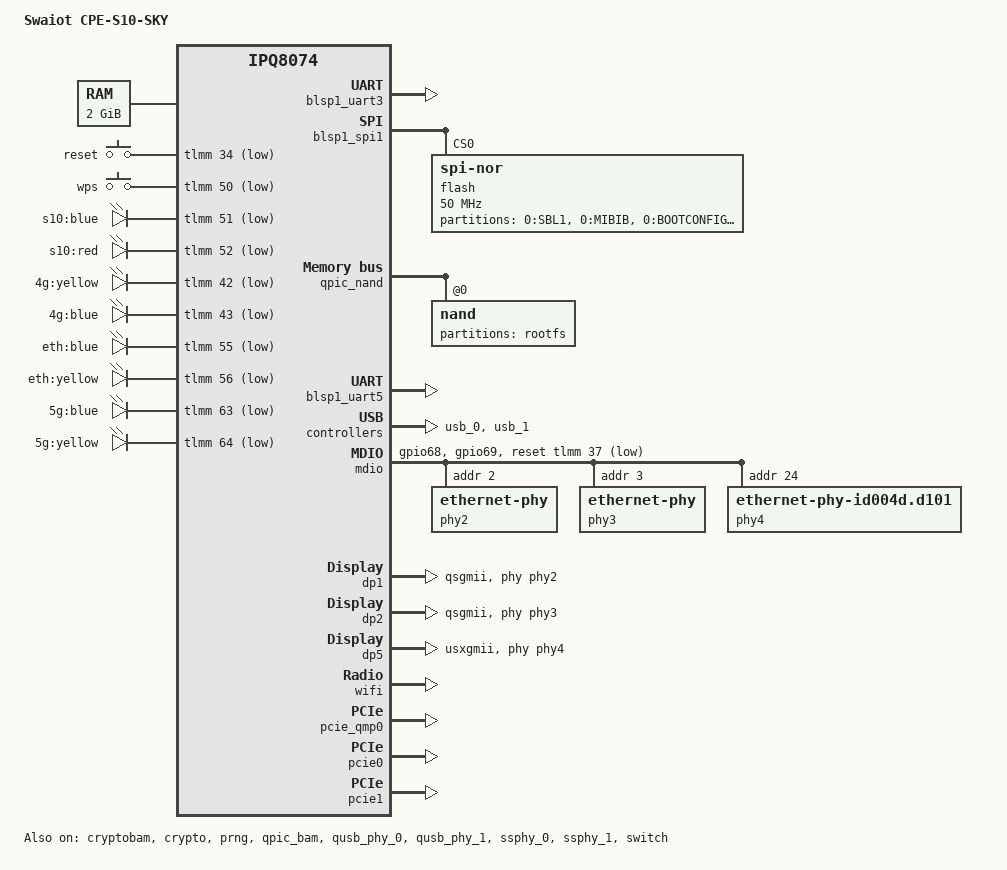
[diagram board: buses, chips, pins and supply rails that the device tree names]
// SPDX-License-Identifier: GPL-2.0-or-later OR MIT
/dts-v1/;
#include "ipq8071-edgecore.dtsi"
#include <dt-bindings/gpio/gpio.h>
#include <dt-bindings/input/input.h>
#include <dt-bindings/leds/common.h>

/ {
	model = "Swaiot CPE-S10-SKY";
	/* 兼容 HK01 U-Boot */
	compatible = "swaiot,cpe-s10-sky",
		     "qcom,ipq8074-hk01",
		     "qcom,ipq8074";

	aliases {
		serial0 = &blsp1_uart3;
		ethernet0 = &dp5;   /* WAN 2.5G */
		ethernet1 = &dp1;   /* LAN1 */
		ethernet2 = &dp2;   /* LAN2 */
	};

	chosen {
		stdout-path = "serial0:115200n8";
		bootargs-append = " swiotlb=1 coherent_pool=2M";
	};

	memory@40000000 {
		device_type = "memory";
		reg = <0x0 0x40000000 0x0 0x80000000>; /* 2GB */
	};

	/* ===== BUTTONS ===== */
	gpio-keys {
		compatible = "gpio-keys";
		pinctrl-0 = <&button_pins>;
		pinctrl-names = "default";

		reset {
			label = "reset";
			gpios = <&tlmm 34 GPIO_ACTIVE_LOW>;
			linux,code = <KEY_RESTART>;
		};

		wps {
			label = "wps";
			gpios = <&tlmm 50 GPIO_ACTIVE_LOW>;
			linux,code = <KEY_WPS_BUTTON>;
		};
	};

	/* ===== LEDS ===== */
	leds {
		compatible = "gpio-leds";
		pinctrl-0 = <&led_pins>;
		pinctrl-names = "default";

		sys_blue: blue {
			label = "s10:blue";
			gpios = <&tlmm 51 GPIO_ACTIVE_LOW>;
		};

		sys_red: red {
			label = "s10:red";
			gpios = <&tlmm 52 GPIO_ACTIVE_LOW>;
		};

		/* 4G indicators */
		led_4g_yellow {
			label = "4g:yellow";
			gpios = <&tlmm 42 GPIO_ACTIVE_LOW>;
		};

		led_4g_blue {
			label = "4g:blue";
			gpios = <&tlmm 43 GPIO_ACTIVE_LOW>;
		};

		/* Ethernet indicators */
		led_eth_blue {
			label = "eth:blue";
			gpios = <&tlmm 55 GPIO_ACTIVE_LOW>;
		};

		led_eth_yellow {
			label = "eth:yellow";
			gpios = <&tlmm 56 GPIO_ACTIVE_LOW>;
		};

		/* 5G indicators */
		led_5g_blue {
			label = "5g:blue";
			gpios = <&tlmm 63 GPIO_ACTIVE_LOW>;
		};

		led_5g_yellow {
			label = "5g:yellow";
			gpios = <&tlmm 64 GPIO_ACTIVE_LOW>;
		};
	};
};

/* ===== PINMUX ===== */
&tlmm {
	button_pins: button-pins {
		pins = "gpio34", "gpio50";
		function = "gpio";
		drive-strength = <8>;
		bias-pull-up;
	};

	led_pins: led-pins {
		pins = "gpio42", "gpio43", "gpio51", "gpio52",
		       "gpio55", "gpio56", "gpio63", "gpio64";
		function = "gpio";
		drive-strength = <8>;
		bias-pull-down;
	};

	mdio_pins: mdio-pins {
		mux_0 {
			pins = "gpio68";
			function = "mdc";
			drive-strength = <8>;
			bias-pull-up;
		};
		mux_1 {
			pins = "gpio69";
			function = "mdio";
			drive-strength = <8>;
			bias-pull-up;
		};
	};
};

/* ===== UART ===== */
&blsp1_uart3 {
	status = "okay";
};

/* ===== SPI NOR (原厂分区，ART在此) ===== */
&blsp1_spi1 {
	pinctrl-0 = <&spi_0_pins>;
	pinctrl-names = "default";
	cs-select = <0>;
	status = "okay";

	flash@0 {
		compatible = "jedec,spi-nor";
		#address-cells = <1>;
		#size-cells = <1>;
		reg = <0>;
		spi-max-frequency = <50000000>;

		partitions {
			compatible = "fixed-partitions";
			#address-cells = <1>;
			#size-cells = <1>;

			partition@0 { label = "0:SBL1"; reg = <0x00000 0x50000>; };
			partition@1 { label = "0:MIBIB"; reg = <0x50000 0x10000>; };
			partition@2 { label = "0:BOOTCONFIG"; reg = <0x60000 0x20000>; };
			partition@3 { label = "0:BOOTCONFIG1"; reg = <0x80000 0x20000>; };
			partition@4 { label = "0:QSEE"; reg = <0xa0000 0x180000>; };
			partition@5 { label = "0:QSEE_1"; reg = <0x220000 0x180000>; };
			partition@6 { label = "0:DEVCFG"; reg = <0x3a0000 0x100000>; };
			partition@7 { label = "0:DEVCFG_1"; reg = <0x3b0000 0x100000>; };
			partition@8 { label = "0:APDP"; reg = <0x3c0000 0x100000>; };
			partition@9 { label = "0:APDP_1"; reg = <0x3d0000 0x100000>; };
			partition@10 { label = "0:RPM"; reg = <0x3e0000 0x40000>; };
			partition@11 { label = "0:RPM_1"; reg = <0x420000 0x40000>; };
			partition@12 { label = "0:CDT"; reg = <0x460000 0x100000>; };
			partition@13 { label = "0:CDT_1"; reg = <0x470000 0x100000>; };
			partition@14 { label = "0:APPSBLENV"; reg = <0x480000 0x100000>; };
			partition@15 { label = "0:APPSBL"; reg = <0x490000 0x100000>; };
			partition@16 { label = "0:APPSBL_1"; reg = <0x530000 0x100000>; };
			partition@17 { label = "0:ETHPHYFW"; reg = <0x610000 0x80000>; };
			partition@18 { label = "0:ART"; reg = <0x5d0000 0x40000>; read-only; };
			partition@19 { label = "ledeinfo"; reg = <0x690000 0x10000>; };
			partition@20 { label = "reserve"; reg = <0x6a0000 0x10000>; };
		};
	};
};

&qpic_nand {
	status = "okay";

	nand@0 {
		reg = <0>;
		nand-ecc-strength = <8>;
		nand-ecc-step-size = <512>;
		nand-bus-width = <8>;

		partitions {
			compatible = "fixed-partitions";
			#address-cells = <1>;
			#size-cells = <1>;

			partition@0 { label = "rootfs"; reg = <0x00000000 0x0fa00000>; };
		};
	};
};

&blsp1_uart5 { status = "okay"; };
&cryptobam { status = "okay"; };
&crypto { status = "okay"; };
&prng { status = "okay"; };
&qpic_bam { status = "okay"; };

&qusb_phy_0 { status = "okay"; };
&qusb_phy_1 { status = "okay"; };
&ssphy_0 { status = "okay"; };
&ssphy_1 { status = "okay"; };

&usb_0 { status = "okay"; };
&usb_1 { status = "okay"; };


/* ===== MDIO & PHY ===== */
&mdio {
	status = "okay";
	pinctrl-0 = <&mdio_pins>;
	pinctrl-names = "default";
	#address-cells = <1>;
	#size-cells = <0>;

	reset-gpios = <&tlmm 37 GPIO_ACTIVE_LOW>;

	phy2: ethernet-phy@2 {
		reg = <2>;
	};

	phy3: ethernet-phy@3 {
		reg = <3>;
	};

	phy4: ethernet-phy@24 {
		reg = <24>;
		compatible = "ethernet-phy-id004d.d101";
	};
};

/* ===== SWITCH ===== */
&switch {
	status = "okay";

	switch_cpu_bmp = <0x1>;
	switch_lan_bmp = <0x18>;   /* port3 + port4 */
	switch_wan_bmp = <0x20>;   /* port5 */
	switch_mac_mode = <MAC_MODE_QSGMII>;
	switch_mac_mode1 = <MAC_MODE_SGMII_PLUS>;

	qcom,port_phyinfo {
		port@3 {
			port_id = <3>;
			phy_address = <2>;
		};
		port@4 {
			port_id = <4>;
			phy_address = <3>;
		};
		port@5 {
			port_id = <5>;
			phy_address = <24>;
			port_mac_sel = "QGMAC_PORT";
		};
	};
};

&edma { status = "okay"; };

/* ===== ETHERNET PORTS (从 ART 读取 MAC 地址) ===== */
&dp1 {
	status = "okay";
	phy-mode = "qsgmii";
	phy-handle = <&phy2>;
	label = "lan1";
	nvmem-cells = <&macaddr_art 2>;  /* LAN1: 基址 + 2 */
	nvmem-cell-names = "mac-address";
};

&dp2 {
	status = "okay";
	phy-mode = "qsgmii";
	phy-handle = <&phy3>;
	label = "lan2";
	nvmem-cells = <&macaddr_art 3>;  /* LAN2: 基址 + 3 */
	nvmem-cell-names = "mac-address";
};

&dp5 {
	status = "okay";
	phy-mode = "usxgmii";   /* 2.5G */
	phy-handle = <&phy4>;
	label = "wan";
	nvmem-cells = <&macaddr_art 1>;  /* WAN: 基址 + 1 */
	nvmem-cell-names = "mac-address";
};

/* ===== WIFI (使用标签安全引用) ===== */
&wifi {
	status = "okay";
	qcom,ath11k-fw-memory-mode = <1>;
	qcom,ath11k-calibration-variant = "Aliyun-AP8220";
	/* 如果有校准数据，可以添加 */
	/* nvmem-cells = <&precal_art>; */
	/* nvmem-cell-names = "pre-calibration"; */
};

/* ===== PCIe (5G模块) ===== */
&pcie_qmp0 { status = "okay"; };
&pcie0 {
	status = "okay";
	perst-gpios = <&tlmm 58 GPIO_ACTIVE_LOW>;
	wake-gpios = <&tlmm 59 GPIO_ACTIVE_HIGH>;
};
&pcie1 { status = "okay"; };
